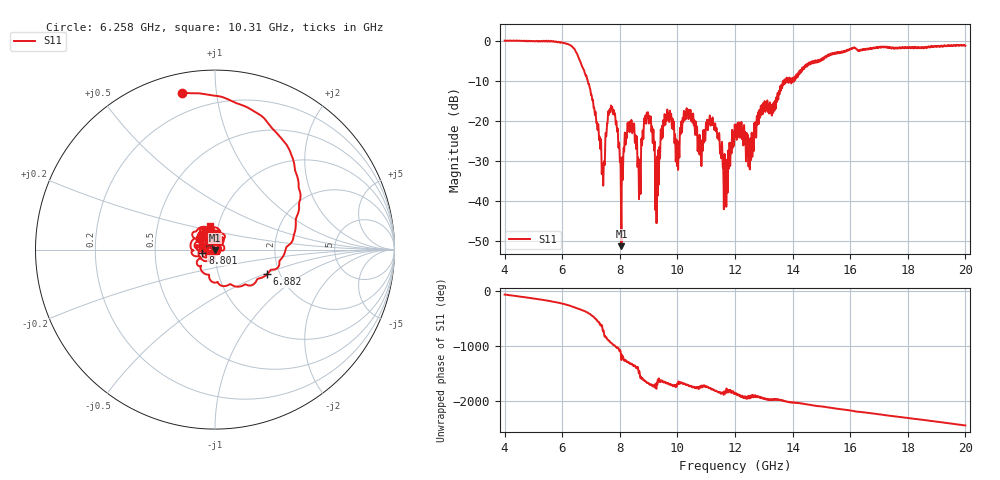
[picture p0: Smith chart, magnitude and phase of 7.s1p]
[Version] 2.0
! Rohde & Schwarz Vector Network Analyzer
! Rohde-Schwarz,ZNL20-2Port,1323001220200009,1.71.1.10-23.02.1.238
! Port Assignments:
! Nominal Port -> Actual Test Port
!  1 -> 1
! Created: GMT+2 2025-01-17 12:46:08
# Hz S RI R 50
[Number of Ports] 1
! freq[Hz]  S11[Re]  S11[Im]
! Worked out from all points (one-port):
!   16001 points, 4 GHz to 20 GHz, reference 50 ohm
!   lowest |S11| = -51.3 dB at 8.057 GHz (marker M1), VSWR 1.01, Z = 49.9 - j0.246 ohm
!   |S11| at or under -10 dB: 6.886 GHz to 13.7 GHz (6.812 GHz wide, 66.2 % of centre); 13.71192 GHz to 13.73996 GHz (28.03 MHz wide, 0.204 % of centre); 13.94137 GHz to 13.96407 GHz (22.69 MHz wide, 0.163 % of centre)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
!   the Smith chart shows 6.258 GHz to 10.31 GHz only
!   S11 on the Smith chart (normalised r, x): 6.258 GHz: 0.10, +0.81; 6.882 GHz: 1.72, -0.53; 8.801 GHz: 0.87, -0.03; 10.31 GHz: 0.92, +0.24
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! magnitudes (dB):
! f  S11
! 4 GHz  0.0
! 6 GHz  -0.5
! 6.258 GHz  -1.0
! 6.882 GHz  -9.9
! 7.402 GHz  -31.0
! 7.717 GHz  -16.7
! 7.863 GHz  -20.9
! 8 GHz  -30.0
! 8.057 GHz  -51.3
! 8.335 GHz  -22.8
! 8.664 GHz  -38.4
! 8.801 GHz  -22.8
! 9.008 GHz  -20.6
! 9.296 GHz  -29.1
! 9.489 GHz  -24.1
! 9.713 GHz  -20.3
! 10 GHz  -25.3
! 10.31 GHz  -17.5
! 10.77 GHz  -24.0
! 11.25 GHz  -21.0
! 11.67 GHz  -30.4
! 12 GHz  -21.5
! 12.54 GHz  -24.4
! 12.96 GHz  -18.3
! 14 GHz  -10.2
! 16 GHz  -2.0
! 18 GHz  -1.6
! 20 GHz  -1.2
